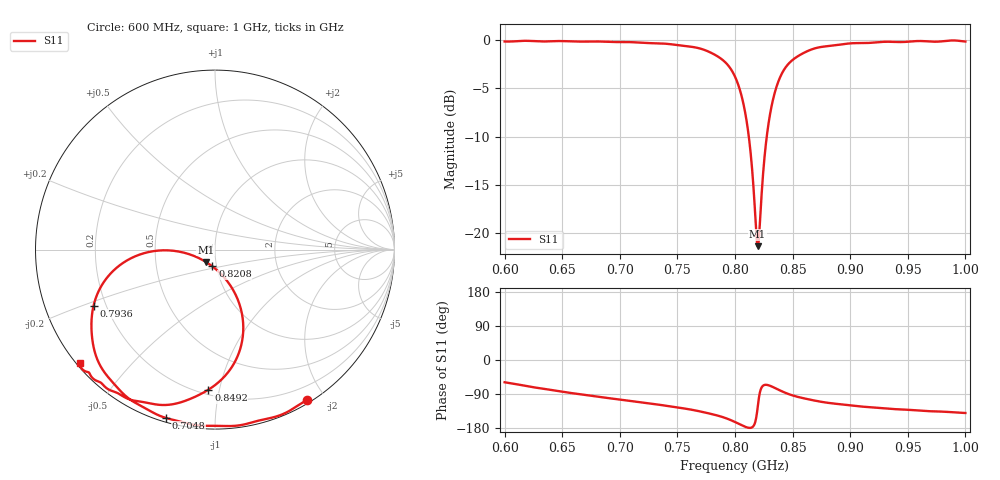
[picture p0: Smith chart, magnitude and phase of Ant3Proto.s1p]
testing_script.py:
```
import pandas as pd
import eseries
import plotly.graph_objects as go
import numpy as np
import multiprocessing as mp
import itertools
import time
import skrf as rf
import smithimp_methods
from multiprocessing import shared_memory, Process, Lock
from multiprocessing import cpu_count, current_process

# Load in the antenna

ntwrk_testing = rf.Network("Test_of_pi_match_calc/Ant3Proto.s1p")

s_params_testing = ntwrk_testing.s[:, 0, 0]

real_s = [x.real for x in s_params_testing]
imag_s = [x.imag for x in s_params_testing]

touch_df_test = pd.DataFrame({
    "freq": np.linspace(600, 1200, 1001),
    "real": real_s,
    "imag": imag_s
})
# Load in antenna with parameter

comparision_df = pd.read_csv("Test_of_pi_match_calc/test_of_export_of_smith.csv", sep=";", header=0, names=("freq", "real", "imag"))

pd.set_option('display.max_rows', None)

#print(comparision_df)

# Transform
transformed = smithimp_methods.apply_transform_df(touch_df_test, (smithimp_methods.Capacitor(5E-12),smithimp_methods.Inductor(3.3E-9)))

#print(transformed)

real_s = [x.real for x in transformed]
imag_s = [x.imag for x in transformed]

transformed_df = pd.DataFrame({
    "real": real_s,
    "imag": imag_s
})




print(transformed_df)

# Check if they are equal
erros_real = transformed_df["real"]-comparision_df["real"]
erros_imag = transformed_df["imag"]-comparision_df["imag"]




error_df = pd.DataFrame({
    "real error": erros_real,
    "imag error": erros_imag
})
```
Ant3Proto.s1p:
! TOUCHSTONE file generated by CST MICROWAVE STUDIO
! Date and time: Wed Nov 23 10:12:08 2022
! Project name: Ant3Proto.cst
! Parameters = {AntCapLenAddition=9; CapShortLen=1; ShortToGND=0.3; waterdim=0.1}
! Header version: 2018
! Port assignment regex: !\s*Touchstone port\s*([0-9]+)\s*=\s*(CST MWS port|CST DS port)\s*([0-9]+|Zmin|Zmax)\s*\(\"(.*)\"\)(\s*mode\s*([0-9]+))?.*
! Touchstone port assignment:
! Touchstone port 1 = CST MWS port 1 ("")
# MHz S RI R 50
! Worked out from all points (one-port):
!   1001 points, 600 MHz to 1 GHz, reference 50 ohm
!   lowest |S11| = -21.4 dB at 819.6 MHz (marker M1), VSWR 1.19, Z = 44.7 - j6.16 ohm
!   |S11| at or under -10 dB: 812 MHz to 827.6 MHz (15.59 MHz wide, 1.9 % of centre)
!   S11 on the Smith chart (normalised r, x): 600 MHz: 0.04, -1.78; 704.8 MHz: 0.02, -0.75; 793.6 MHz: 0.15, -0.21; 820.8 MHz: 0.95, -0.18; 849.2 MHz: 0.23, -0.93; 1 GHz: 0.01, -0.37
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600  0.5106 -0.8402
648.4  0.1231 -0.9807
704.8  -0.2739 -0.9379
733.6  -0.4491 -0.8508
767.2  -0.6347 -0.6547
793.6  -0.6764 -0.3118
809.2  -0.4084 -0.0239
819.6  -0.0513 -0.0683
820.8  -0.0146 -0.0935
831.2  0.1567 -0.4084
849.2  -0.0371 -0.7808
866.8  -0.2419 -0.8626
908.8  -0.5199 -0.8126
1000  -0.7507 -0.6341
